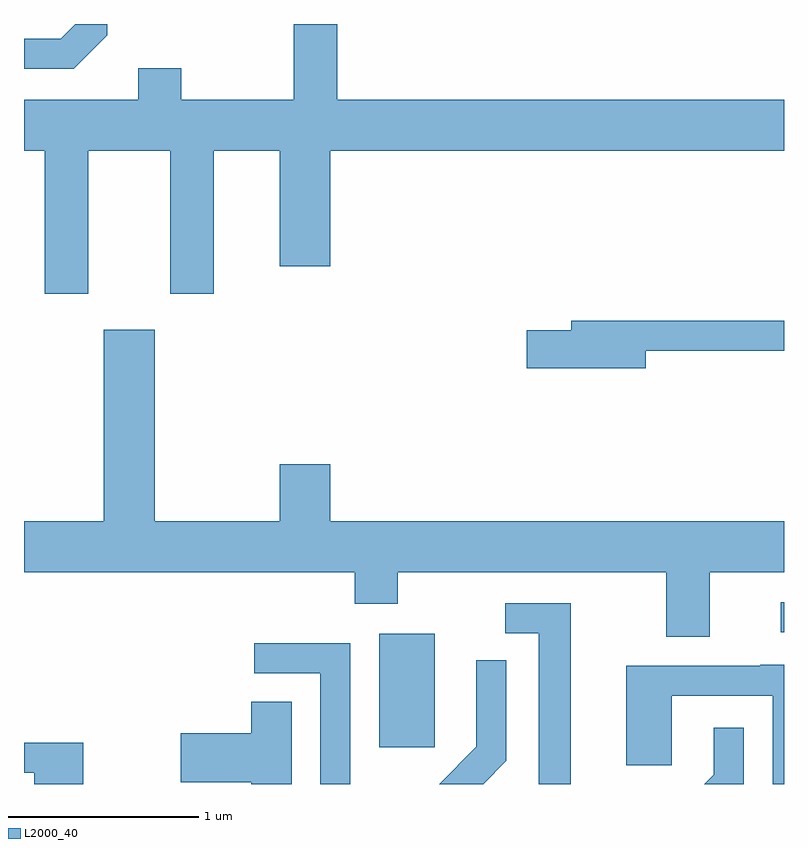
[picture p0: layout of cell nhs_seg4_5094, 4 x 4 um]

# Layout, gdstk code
import gdstk
lib = gdstk.Library(unit=1e-6, precision=1e-09)
def R(c, l, rs):  # rectangles x0, y0, x1, y1
    for r in rs: c.add(gdstk.rectangle(r[:2], r[2:], *l))
def P(c, l, *ps):  # polygons
    for p in ps: c.add(gdstk.Polygon(p, *l))
L2000_40 = (2000, 40)

nhs_seg4_5094 = lib.new_cell('nhs_seg4_5094')
R(nhs_seg4_5094, L2000_40, [(335.481,1378.176,335.774,1378.774), (337.593,1378.781,337.611,1378.939)])
P(nhs_seg4_5094, L2000_40, [(333.949,1381.316),(334.381,1381.316),(334.381,1380.561),(334.609,1380.561),(334.609,1381.316),(334.956,1381.316),(334.956,1380.706),(335.224,1380.706),(335.224,1381.316),(337.611,1381.316),(337.611,1381.584),(335.259,1381.584),(335.259,1381.982),(335.031,1381.982),(335.031,1381.584),(334.439,1381.584),(334.439,1381.749),(334.211,1381.749),(334.211,1381.584),(333.611,1381.584),(333.611,1381.316),(333.721,1381.316),(333.721,1380.561),(333.949,1380.561)],
  [(334.049,1381.924),(334.049,1381.982),(333.881,1381.982),(333.804,1381.904),(333.611,1381.904),(333.611,1381.746),(333.872,1381.746)],
  [(336.884,1380.261),(337.611,1380.261),(337.611,1380.419),(336.491,1380.419),(336.491,1380.369),(336.256,1380.369),(336.256,1380.171),(336.884,1380.171)],
  [(337.219,1379.096),(337.611,1379.096),(337.611,1379.364),(335.224,1379.364),(335.224,1379.664),(334.956,1379.664),(334.956,1379.364),(334.299,1379.364),(334.299,1380.374),(334.031,1380.374),(334.031,1379.364),(333.611,1379.364),(333.611,1379.096),(335.351,1379.096),(335.351,1378.931),(335.579,1378.931),(335.579,1379.096),(336.991,1379.096),(336.991,1378.756),(337.219,1378.756)],
  [(336.489,1378.934),(336.143,1378.934),(336.143,1378.776),(336.321,1378.776),(336.321,1377.982),(336.489,1377.982)],
  [(335.329,1378.724),(334.823,1378.724),(334.823,1378.566),(335.171,1378.566),(335.171,1377.982),(335.329,1377.982)],
  [(336.149,1378.104),(336.149,1378.633),(335.991,1378.633),(335.991,1378.177),(335.796,1377.982),(336.027,1377.982)],
  [(337.611,1378.609),(337.485,1378.609),(337.485,1378.604),(336.781,1378.604),(336.781,1378.081),(337.019,1378.081),(337.019,1378.446),(337.551,1378.446),(337.551,1377.982),(337.611,1377.982)],
  [(335.019,1378.414),(334.806,1378.414),(334.806,1378.249),(334.436,1378.249),(334.436,1377.991),(334.806,1377.991),(334.806,1377.982),(335.019,1377.982)],
  [(337.399,1378.278),(337.241,1378.278),(337.241,1378.032),(337.191,1377.982),(337.399,1377.982)],
  [(333.924,1378.199),(333.611,1378.199),(333.611,1378.041),(333.666,1378.041),(333.666,1377.982),(333.924,1377.982)])

lib.write_gds('nhs_seg4_5094.gds')
